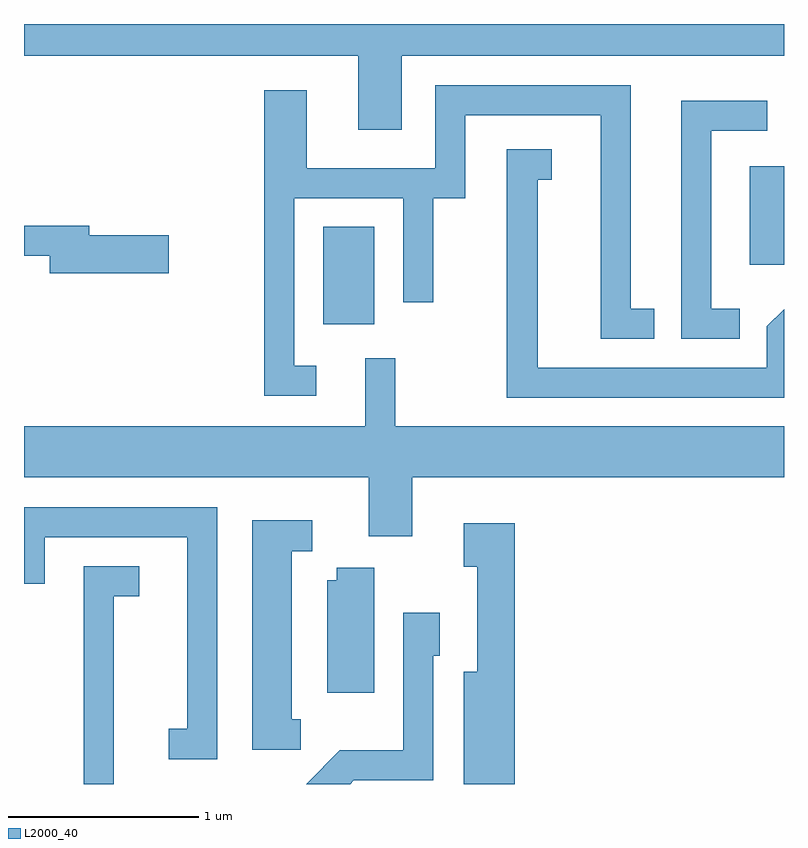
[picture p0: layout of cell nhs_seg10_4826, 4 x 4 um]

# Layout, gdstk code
import gdstk
lib = gdstk.Library(unit=1e-6, precision=1e-09)
def R(c, l, rs):  # rectangles x0, y0, x1, y1
    for r in rs: c.add(gdstk.rectangle(r[:2], r[2:], *l))
def P(c, l, *ps):  # polygons
    for p in ps: c.add(gdstk.Polygon(p, *l))
L2000_40 = (2000, 40)

nhs_seg10_4826 = lib.new_cell('nhs_seg10_4826')
R(nhs_seg10_4826, L2000_40, [(329.186,2116.941,329.454,2117.454), (331.431,2117.256,331.611,2117.774)])
P(nhs_seg10_4826, L2000_40, [(329.599,2118.356),(331.611,2118.356),(331.611,2118.522),(327.611,2118.522),(327.611,2118.356),(329.371,2118.356),(329.371,2117.966),(329.599,2117.966)],
  [(329.148,2116.724),(329.034,2116.724),(329.034,2117.606),(329.606,2117.606),(329.606,2117.058),(329.764,2117.058),(329.764,2117.606),(329.934,2117.606),(329.934,2118.041),(330.646,2118.041),(330.646,2116.866),(330.928,2116.866),(330.928,2117.024),(330.804,2117.024),(330.804,2118.199),(329.776,2118.199),(329.776,2117.764),(329.099,2117.764),(329.099,2118.174),(328.876,2118.174),(328.876,2116.566),(329.148,2116.566)],
  [(331.378,2117.024),(331.229,2117.024),(331.229,2117.961),(331.523,2117.961),(331.523,2118.119),(331.071,2118.119),(331.071,2116.866),(331.378,2116.866)],
  [(331.611,2117.021),(331.521,2116.932),(331.521,2116.714),(330.314,2116.714),(330.314,2117.701),(330.388,2117.701),(330.388,2117.864),(330.151,2117.864),(330.151,2116.556),(331.611,2116.556)],
  [(328.374,2117.409),(327.954,2117.409),(327.954,2117.459),(327.611,2117.459),(327.611,2117.301),(327.746,2117.301),(327.746,2117.211),(328.374,2117.211)],
  [(329.654,2116.136),(331.611,2116.136),(331.611,2116.404),(329.564,2116.404),(329.564,2116.763),(329.406,2116.763),(329.406,2116.404),(327.611,2116.404),(327.611,2116.136),(329.426,2116.136),(329.426,2115.826),(329.654,2115.826)],
  [(328.629,2115.979),(327.611,2115.979),(327.611,2115.576),(327.719,2115.576),(327.719,2115.821),(328.471,2115.821),(328.471,2114.814),(328.373,2114.814),(328.373,2114.651),(328.629,2114.651)],
  [(329.068,2114.864),(329.019,2114.864),(329.019,2115.746),(329.128,2115.746),(329.128,2115.909),(328.811,2115.909),(328.811,2114.701),(329.068,2114.701)],
  [(330.194,2115.894),(329.926,2115.894),(329.926,2115.666),(329.996,2115.666),(329.996,2115.114),(329.926,2115.114),(329.926,2114.522),(330.194,2114.522)],
  [(328.084,2115.511),(328.218,2115.511),(328.218,2115.669),(327.926,2115.669),(327.926,2114.522),(328.084,2114.522)],
  [(329.454,2115.659),(329.256,2115.659),(329.256,2115.594),(329.206,2115.594),(329.206,2115.001),(329.454,2115.001)],
  [(329.347,2114.541),(329.764,2114.541),(329.764,2115.196),(329.799,2115.196),(329.799,2115.424),(329.606,2115.424),(329.606,2114.699),(329.274,2114.699),(329.097,2114.522),(329.328,2114.522)])

lib.write_gds('nhs_seg10_4826.gds')
